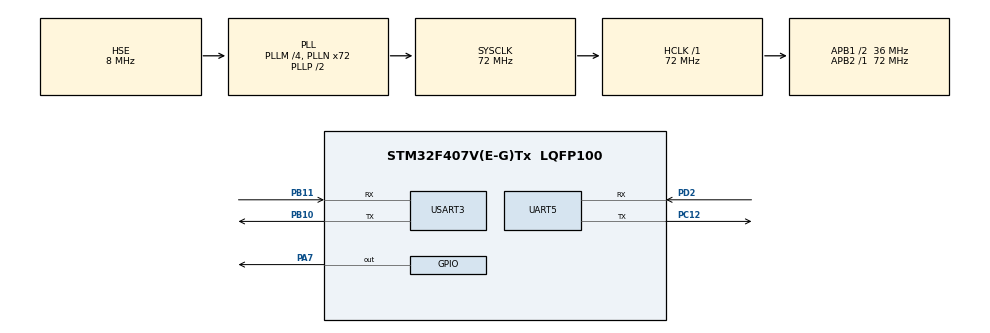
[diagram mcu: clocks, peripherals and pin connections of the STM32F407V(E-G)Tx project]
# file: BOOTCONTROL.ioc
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Dma.Request0=UART5_RX
Dma.Request1=UART5_TX
Dma.Request2=USART3_RX
Dma.Request3=USART3_TX
Dma.UART5_RX.0.Direction=DMA_PERIPH_TO_MEMORY
Dma.UART5_RX.0.FIFOMode=DMA_FIFOMODE_DISABLE
Dma.UART5_RX.0.Instance=DMA1_Stream0
Dma.UART5_RX.0.MemDataAlignment=DMA_MDATAALIGN_BYTE
Dma.UART5_RX.0.MemInc=DMA_MINC_ENABLE
Dma.UART5_RX.0.Mode=DMA_NORMAL
Dma.UART5_RX.0.PeriphDataAlignment=DMA_PDATAALIGN_BYTE
Dma.UART5_RX.0.PeriphInc=DMA_PINC_DISABLE
Dma.UART5_RX.0.Priority=DMA_PRIORITY_LOW
Dma.UART5_TX.1.Direction=DMA_MEMORY_TO_PERIPH
Dma.UART5_TX.1.FIFOMode=DMA_FIFOMODE_DISABLE
Dma.UART5_TX.1.Instance=DMA1_Stream7
Dma.UART5_TX.1.MemDataAlignment=DMA_MDATAALIGN_BYTE
Dma.UART5_TX.1.MemInc=DMA_MINC_ENABLE
Dma.UART5_TX.1.Mode=DMA_NORMAL
Dma.UART5_TX.1.PeriphDataAlignment=DMA_PDATAALIGN_BYTE
Dma.UART5_TX.1.PeriphInc=DMA_PINC_DISABLE
Dma.UART5_TX.1.Priority=DMA_PRIORITY_LOW
Dma.USART3_RX.2.Direction=DMA_PERIPH_TO_MEMORY
Dma.USART3_RX.2.FIFOMode=DMA_FIFOMODE_DISABLE
Dma.USART3_RX.2.Instance=DMA1_Stream1
Dma.USART3_RX.2.MemDataAlignment=DMA_MDATAALIGN_BYTE
Dma.USART3_RX.2.MemInc=DMA_MINC_ENABLE
Dma.USART3_RX.2.Mode=DMA_NORMAL
Dma.USART3_RX.2.PeriphDataAlignment=DMA_PDATAALIGN_BYTE
Dma.USART3_RX.2.PeriphInc=DMA_PINC_DISABLE
Dma.USART3_RX.2.Priority=DMA_PRIORITY_LOW
Dma.USART3_TX.3.Direction=DMA_MEMORY_TO_PERIPH
Dma.USART3_TX.3.FIFOMode=DMA_FIFOMODE_DISABLE
Dma.USART3_TX.3.Instance=DMA1_Stream3
Dma.USART3_TX.3.MemDataAlignment=DMA_MDATAALIGN_BYTE
Dma.USART3_TX.3.MemInc=DMA_MINC_ENABLE
Dma.USART3_TX.3.Mode=DMA_NORMAL
Dma.USART3_TX.3.PeriphDataAlignment=DMA_PDATAALIGN_BYTE
Dma.USART3_TX.3.PeriphInc=DMA_PINC_DISABLE
Dma.USART3_TX.3.Priority=DMA_PRIORITY_LOW
Mcu.Family=STM32F4
Mcu.Name=STM32F407V(E-G)Tx
Mcu.Package=LQFP100
NVIC.DMA1_Stream0_IRQn=true\:0\:0\:false\:false\:true\:false\:true\:true
NVIC.DMA1_Stream1_IRQn=true\:0\:0\:false\:false\:true\:false\:true\:true
NVIC.DMA1_Stream3_IRQn=true\:0\:0\:false\:false\:true\:false\:true\:true
NVIC.DMA1_Stream7_IRQn=true\:0\:0\:false\:false\:true\:false\:true\:true
NVIC.PriorityGroup=NVIC_PRIORITYGROUP_4
NVIC.UART5_IRQn=true\:0\:0\:false\:false\:true\:false\:true\:true
NVIC.USART3_IRQn=true\:0\:0\:false\:false\:true\:false\:true\:true
PA13.Mode=Serial_Wire
PA13.Signal=SYS_JTMS-SWDIO
PA14.Mode=Serial_Wire
PA14.Signal=SYS_JTCK-SWCLK
PA7.Signal=GPIO_Output
PB10.Mode=Asynchronous
PB10.Signal=USART3_TX
PB11.Mode=Asynchronous
PB11.Signal=USART3_RX
PC12.Mode=Asynchronous
PC12.Signal=UART5_TX
PD2.Mode=Asynchronous
PD2.Signal=UART5_RX
PH0-OSC_IN.Mode=HSE-External-Oscillator
PH0-OSC_IN.Signal=RCC_OSC_IN
PH1-OSC_OUT.Mode=HSE-External-Oscillator
PH1-OSC_OUT.Signal=RCC_OSC_OUT
ProjectManager.HeapSize=0x200
ProjectManager.StackSize=0x400
ProjectManager.TargetToolchain=MDK-ARM V5.32
RCC.48MHZClocksFreq_Value=36000000
RCC.AHBFreq_Value=72000000
RCC.APB1CLKDivider=RCC_HCLK_DIV2
RCC.APB1Freq_Value=36000000
RCC.APB1TimFreq_Value=72000000
RCC.APB2Freq_Value=72000000
RCC.APB2TimFreq_Value=72000000
RCC.CortexFreq_Value=72000000
RCC.HCLKFreq_Value=72000000
RCC.HSE_VALUE=8000000
RCC.HSI_VALUE=16000000
RCC.LSE_VALUE=32768
RCC.PLLM=4
RCC.PLLN=72
RCC.PLLSourceVirtual=RCC_PLLSOURCE_HSE
RCC.SYSCLKFreq_VALUE=72000000
RCC.SYSCLKSource=RCC_SYSCLKSOURCE_PLLCLK
RCC.VCOOutputFreq_Value=144000000
UART5.VirtualMode=Asynchronous
USART3.Parity=PARITY_EVEN
USART3.VirtualMode=VM_ASYNC
USART3.WordLength=WORDLENGTH_9B
board=custom

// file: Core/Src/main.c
/* USER CODE BEGIN Header */
/**
  ******************************************************************************
  * @file           : main.c
  * @brief          : Main program body
  ******************************************************************************
  * @attention
  *
  * Copyright (c) 2025 STMicroelectronics.
  * All rights reserved.
  *
  * This software is licensed under terms that can be found in the LICENSE file
  * in the root directory of this software component.
  * If no LICENSE file comes with this software, it is provided AS-IS.
  *
  ******************************************************************************
  */
/* USER CODE END Header */
#include "main.h"
#include "dma.h"
#include "usart.h"
#include "gpio.h"

/* USER CODE BEGIN Includes */

#include "stm32f4xx.h"
#include "cmdhandle.h"
#include "stdint.h"
#include <stdlib.h>
#include "unpack.h"
#include "crc.h"
#include "shared_var.h"
//#include "shared_var.c"
/* USER CODE END Includes */

/* USER CODE BEGIN PTD */

#define APP_ADDR     0x08010000u

/* USER CODE END PTD */

/* USER CODE BEGIN PD */
 Share_t  s = {0};
  Share_t  s1 = {     //跳转到APP
    .magic = SHARE_MAGIC,
    .flag  = 0x12345678,
		.state = 0x12345678,
		.softwarenumb = 0x12345678,
		.hardwarecode = 0x12345678,
    .crc   = 0
};
	  Share_t  s2 = {
    .magic = SHARE_MAGIC,
    .flag  = 0x87654321,
		.state = 0x12345678,
		.softwarenumb = 0x12345678,
		.hardwarecode = 0x12345678,
    .crc   = 0
};
		Share_t  s3 = {
    .magic = SHARE_MAGIC,
    .flag  = 0x11223344,
		.state = 0x12345678,
		.softwarenumb = 0x12345678,
		.hardwarecode = 0x12345678,
    .crc   = 0
};

uint8_t rx3_buffer[RX_BUFFER_SIZE];   //接上位机，串口3 422
uint8_t rx5_buffer[RX_BUFFER_SIZE];   //接高压板，串口5  232
uint8_t TXBUF0[14]= {0x55, 0xAA, 0x0E, 0x00, 0x00, 0x00,
                        0x02, 0x01, 0x05, 0x00, 0x01, 0x00, 0x00, 0x00};

uint16_t rx3_length;
uint16_t rx5_length;

uint8_t  rx3_flag = 0;
uint8_t  rx5_flag = 0;

uint8_t ring_data[RB_bufsz];
uint8_t cmd_buf[RB_bufsz];

uint8_t flashwr_flag=0;
uint8_t flasherase_flag=0;
uint8_t	flashover_flag=0;

uint32_t APP_address=APP_ADDR;

//uint32_t  section0=4;

/* USER CODE END PD */

void SystemClock_Config(void);

/* USER CODE BEGIN 0 */

//void Flash_WriteBuf(uint32_t addr, uint8_t *p, uint32_t len);
//void Flash_eraseBuf(uint32_t sector);
void Boot_SetUpdateDone(void);

/* USER CODE END 0 */

int main(void)
{

  /* USER CODE BEGIN 1 */
  __enable_irq();
  /* USER CODE END 1 */

  /* MCU Configuration--------------------------------------------------------*/

  /* Reset of all peripherals, Initializes the Flash interface and the Systick. */
  HAL_Init();

  /* Configure the system clock */
  SystemClock_Config();

  /* Initialize all configured peripherals */
  MX_GPIO_Init();
  MX_DMA_Init();
  MX_UART5_Init();
  MX_USART3_UART_Init();
  /* USER CODE BEGIN 2 */

	__HAL_UART_ENABLE_IT(&huart3, UART_IT_IDLE);
  __HAL_UART_ENABLE_IT(&huart5, UART_IT_IDLE);

	HAL_UART_Receive_DMA(&huart3, rx3_buffer, sizeof(rx3_buffer));
	HAL_UART_Receive_DMA(&huart5, rx5_buffer, sizeof(rx5_buffer));

	ringbuffer rbuf;
	decodeData g_decoder;
	ring_buf_init(&rbuf, ring_data);
	unpack_init(&g_decoder, &rbuf, cmd_buf);

	SHARE_Read(&s, SHARE_ADDR);
	if(s.magic==SHARE_MAGIC )
			{
					SHARE_Erase( 3 );
					SHARE_Read(&s, SHARE_ADDR);
					if(s.magic==0xFFFFFFFF)
					{
						SHARE_Write(&s1,3);
					}
			}

  /* USER CODE END 2 */

  /* Infinite loop */
  /* USER CODE BEGIN WHILE */
	SHARE_Read(&s, SHARE_ADDR);
	if(s.flag == 0x87654321 )
				{
					CMD_handlder_tx(TXBUF0,0x01,0x05,0x00,0x01);
				}

  while (1)
  {

		if(rx3_flag ==1)  // 上位机下发数据
		{
			rx3_flag = 0;

			if(rx3_buffer[0] ==0x55 && rx3_buffer[7] == 0x02)  //给主控板
		   	{
					for (int i = 0; i < sizeof(rx3_buffer); i++)  ring_buf_write(&rbuf, rx3_buffer[i]);
					while (ring_buf_avail(&rbuf) > 0)             unpack_fun(&g_decoder);
					//HAL_UART_Transmit(&huart3, g_decoder.buf, rx3_length ,0xFFFF );
			   }
		  else if(rx3_buffer[0] ==0x55 && rx3_buffer[7] == 0x03)    //给高压板
					{
						HAL_UART_Transmit_DMA(&huart5, rx3_buffer, rx3_length);
					}

			else
					{
				  	CMD_handlder_tx(TXBUF0,0x05,0x01,0x00,0x00); //报错
					}
		}

		if( s.flag == 0x12345678 || s.flag ==0x11223344)
		{
				__disable_irq();    //禁用所有中断
				/* 跳转到 App（地址 0x08010000） */
				typedef void (*app_fn)(void);
				uint32_t appStack = *(uint32_t *)APP_ADDR;
				app_fn   appEntry = (app_fn)*(uint32_t *)(APP_ADDR + 4);

			  /* 关中断 + 复位外设 */
				HAL_RCC_DeInit();
				HAL_DeInit();
				SysTick->CTRL = 0;
				SysTick->LOAD = 0;
				SysTick->VAL  = 0;
				__disable_irq();

				__set_MSP(appStack);  //设置主堆栈指针
				appEntry();           //跳转
		}
		else if( s.flag == 0x87654321 )
		{
				if( flasherase_flag==1)
				{
					flasherase_flag=0;
					SHARE_Erase(4);
					SHARE_Erase(5);
					SHARE_Erase(6);
					//flashwr_flag=1;
				}

				if( flashwr_flag==1)
				{
				    flashwr_flag=0;
					Flash_WriteBuf(APP_address, g_decoder.buf, ((uint32_t)g_decoder.len - 14) );//需要重新计算g_decoder.len，在unpack,c的地58行（我认为是整个数据包的长度）
				  	CMD_handlder_tx(TXBUF0,0x01,0x06,0x00,0x01);
				}

					if( flashover_flag==1)
				{
				    SHARE_Erase( 3 );
						SHARE_Read(&s, SHARE_ADDR);
						if(s.magic==0xFFFFFFFF)
						{
							SHARE_Write(&s3,3);
						}
				}

		}

    /* USER CODE END WHILE */

  }
}

void SystemClock_Config(void)
{
  RCC_OscInitTypeDef RCC_OscInitStruct = {0};
  RCC_ClkInitTypeDef RCC_ClkInitStruct = {0};

  /** Configure the main internal regulator output voltage
  */
  __HAL_RCC_PWR_CLK_ENABLE();
  __HAL_PWR_VOLTAGESCALING_CONFIG(PWR_REGULATOR_VOLTAGE_SCALE1);

  /** Initializes the RCC Oscillators according to the specified parameters
  * in the RCC_OscInitTypeDef structure.
  */
  RCC_OscInitStruct.OscillatorType = RCC_OSCILLATORTYPE_HSE;
  RCC_OscInitStruct.HSEState = RCC_HSE_ON;
  RCC_OscInitStruct.PLL.PLLState = RCC_PLL_ON;
  RCC_OscInitStruct.PLL.PLLSource = RCC_PLLSOURCE_HSE;
  RCC_OscInitStruct.PLL.PLLM = 4;
  RCC_OscInitStruct.PLL.PLLN = 72;
  RCC_OscInitStruct.PLL.PLLP = RCC_PLLP_DIV2;
  RCC_OscInitStruct.PLL.PLLQ = 4;
  if (HAL_RCC_OscConfig(&RCC_OscInitStruct) != HAL_OK)
  {
    Error_Handler();
  }

  /** Initializes the CPU, AHB and APB buses clocks
  */
  RCC_ClkInitStruct.ClockType = RCC_CLOCKTYPE_HCLK|RCC_CLOCKTYPE_SYSCLK
                              |RCC_CLOCKTYPE_PCLK1|RCC_CLOCKTYPE_PCLK2;
  RCC_ClkInitStruct.SYSCLKSource = RCC_SYSCLKSOURCE_PLLCLK;
  RCC_ClkInitStruct.AHBCLKDivider = RCC_SYSCLK_DIV1;
  RCC_ClkInitStruct.APB1CLKDivider = RCC_HCLK_DIV2;
  RCC_ClkInitStruct.APB2CLKDivider = RCC_HCLK_DIV1;

  if (HAL_RCC_ClockConfig(&RCC_ClkInitStruct, FLASH_LATENCY_2) != HAL_OK)
  {
    Error_Handler();
  }
}

void Error_Handler(void)
{
  __disable_irq();
  while (1)
  {
  }
}
